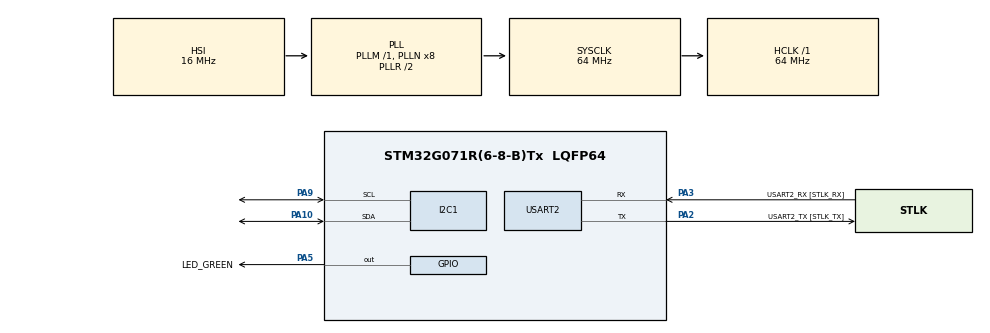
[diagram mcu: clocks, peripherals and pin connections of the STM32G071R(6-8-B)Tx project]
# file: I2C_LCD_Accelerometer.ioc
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I2C1.Timing=0x10B17DB5
Mcu.Family=STM32G0
Mcu.Name=STM32G071R(6-8-B)Tx
Mcu.Package=LQFP64
PA10.Mode=I2C
PA10.Signal=I2C1_SDA
PA13.GPIO_Label=TMS
PA13.Mode=Serial_Wire
PA13.Signal=SYS_SWDIO
PA14-BOOT0.GPIO_Label=TCK
PA14-BOOT0.Mode=Serial_Wire
PA14-BOOT0.Signal=SYS_SWCLK
PA2.GPIO_Label=USART2_TX [STLK_TX]
PA2.GPIO_PuPd=GPIO_PULLUP
PA2.Mode=Asynchronous
PA2.Signal=USART2_TX
PA3.GPIO_Label=USART2_RX [STLK_RX]
PA3.GPIO_PuPd=GPIO_PULLUP
PA3.Mode=Asynchronous
PA3.Signal=USART2_RX
PA5.GPIO_Label=LED_GREEN
PA5.GPIO_Speed=GPIO_SPEED_FREQ_HIGH
PA5.Signal=GPIO_Output
PA9.Mode=I2C
PA9.Signal=I2C1_SCL
PC13.Mode=SYS_WakeUp1
PC13.Signal=SYS_WKUP2
PC14-OSC32_IN\ (PC14).Mode=LSE-External-Clock-Source
PC14-OSC32_IN\ (PC14).Signal=RCC_OSC32_IN
PC15-OSC32_OUT\ (PC15).Signal=RCC_OSC32_OUT
PF0-OSC_IN\ (PF0).GPIO_Label=MCO
PF0-OSC_IN\ (PF0).Mode=HSE-External-Clock-Source
PF0-OSC_IN\ (PF0).Signal=RCC_OSC_IN
ProjectManager.HeapSize=0x200
ProjectManager.StackSize=0x400
ProjectManager.TargetToolchain=STM32CubeIDE
RCC.ADCFreq_Value=64000000
RCC.AHBFreq_Value=64000000
RCC.CortexFreq_Value=64000000
RCC.EXTERNAL_CLOCK_VALUE=12288000
RCC.HCLKFreq_Value=64000000
RCC.HSE_VALUE=8000000
RCC.HSI_VALUE=16000000
RCC.SYSCLKFreq_VALUE=64000000
RCC.SYSCLKSource=RCC_SYSCLKSOURCE_PLLCLK
RCC.VCOOutputFreq_Value=128000000
USART2.VirtualMode-Asynchronous=VM_ASYNC
board=NUCLEO-G071RB

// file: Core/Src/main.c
/* USER CODE BEGIN Header */
/**
  ******************************************************************************
  * @file           : main.c
  * @brief          : Main program body
  ******************************************************************************
  * @attention
  *
  * Copyright (c) 2026 STMicroelectronics.
  * All rights reserved.
  *
  * This software is licensed under terms that can be found in the LICENSE file
  * in the root directory of this software component.
  * If no LICENSE file comes with this software, it is provided AS-IS.
  *
  ******************************************************************************
  */
/* USER CODE END Header */
#include "main.h"

/* USER CODE BEGIN Includes */
#include "I2C_LCD.h"
#include "stdio.h"
#include "DFRobot_LIS2DH12.h"
/* USER CODE END Includes */

/* USER CODE BEGIN PD */
#define lcd_1 I2C_LCD_1
DFRobot_LIS2DH12_t accel;

int16_t x=0;
int16_t y=0;
int16_t z=0;

char data[100]={'\0'};

uint32_t last_time=0;
/* USER CODE END PD */

I2C_HandleTypeDef hi2c1;

UART_HandleTypeDef huart2;

void SystemClock_Config(void);
static void MX_GPIO_Init(void);
static void MX_USART2_UART_Init(void);
static void MX_I2C1_Init(void);

int main(void)
{

  /* MCU Configuration--------------------------------------------------------*/

  /* Reset of all peripherals, Initializes the Flash interface and the Systick. */
  HAL_Init();

  /* Configure the system clock */
  SystemClock_Config();

  /* Initialize all configured peripherals */
  MX_GPIO_Init();
  MX_USART2_UART_Init();
  MX_I2C1_Init();
  /* USER CODE BEGIN 2 */

  DFRobot_LIS2DH12_Init(&accel,&hi2c1,LIS2DH12_RANGE_2GA,0x18);

  I2C_LCD_Init(lcd_1);
  I2C_LCD_SetCursor(lcd_1,0,0);
  I2C_LCD_WriteString(lcd_1,"Initializing..");
  HAL_Delay(5000);
  I2C_LCD_Clear(lcd_1);
  I2C_LCD_WriteString(lcd_1,"Initialized!");
  I2C_LCD_Clear(lcd_1);

  /* USER CODE END 2 */

  /* Infinite loop */
  /* USER CODE BEGIN WHILE */
  while (1)
  {
	  if(HAL_GetTick()-last_time>=100){
	  DFRobot_LIS2DH12_ReadXYZ(&accel, &x, &y, &z);
	  DFRobot_LIS2DH12_MgScale(&accel,&x,&y,&z);

	  sprintf(data,"x=%d    y=%d      ",x,y);
	  I2C_LCD_SetCursor(lcd_1,0,0);
	  I2C_LCD_WriteString(lcd_1,data);
	  sprintf(data,"z=%d       ",z);
	  I2C_LCD_SetCursor(lcd_1,0,1);
	  I2C_LCD_WriteString(lcd_1,data);

	  last_time=HAL_GetTick();
	  }
    /* USER CODE END WHILE */

  }
}

void SystemClock_Config(void)
{
  RCC_OscInitTypeDef RCC_OscInitStruct = {0};
  RCC_ClkInitTypeDef RCC_ClkInitStruct = {0};

  /** Configure the main internal regulator output voltage
  */
  HAL_PWREx_ControlVoltageScaling(PWR_REGULATOR_VOLTAGE_SCALE1);

  /** Initializes the RCC Oscillators according to the specified parameters
  * in the RCC_OscInitTypeDef structure.
  */
  RCC_OscInitStruct.OscillatorType = RCC_OSCILLATORTYPE_HSI;
  RCC_OscInitStruct.HSIState = RCC_HSI_ON;
  RCC_OscInitStruct.HSIDiv = RCC_HSI_DIV1;
  RCC_OscInitStruct.HSICalibrationValue = RCC_HSICALIBRATION_DEFAULT;
  RCC_OscInitStruct.PLL.PLLState = RCC_PLL_ON;
  RCC_OscInitStruct.PLL.PLLSource = RCC_PLLSOURCE_HSI;
  RCC_OscInitStruct.PLL.PLLM = RCC_PLLM_DIV1;
  RCC_OscInitStruct.PLL.PLLN = 8;
  RCC_OscInitStruct.PLL.PLLP = RCC_PLLP_DIV2;
  RCC_OscInitStruct.PLL.PLLQ = RCC_PLLQ_DIV2;
  RCC_OscInitStruct.PLL.PLLR = RCC_PLLR_DIV2;
  if (HAL_RCC_OscConfig(&RCC_OscInitStruct) != HAL_OK)
  {
    Error_Handler();
  }

  /** Initializes the CPU, AHB and APB buses clocks
  */
  RCC_ClkInitStruct.ClockType = RCC_CLOCKTYPE_HCLK|RCC_CLOCKTYPE_SYSCLK
                              |RCC_CLOCKTYPE_PCLK1;
  RCC_ClkInitStruct.SYSCLKSource = RCC_SYSCLKSOURCE_PLLCLK;
  RCC_ClkInitStruct.AHBCLKDivider = RCC_SYSCLK_DIV1;
  RCC_ClkInitStruct.APB1CLKDivider = RCC_HCLK_DIV1;

  if (HAL_RCC_ClockConfig(&RCC_ClkInitStruct, FLASH_LATENCY_2) != HAL_OK)
  {
    Error_Handler();
  }
}

static void MX_I2C1_Init(void)
{

  hi2c1.Instance = I2C1;
  hi2c1.Init.Timing = 0x10B17DB5;
  hi2c1.Init.OwnAddress1 = 0;
  hi2c1.Init.AddressingMode = I2C_ADDRESSINGMODE_7BIT;
  hi2c1.Init.DualAddressMode = I2C_DUALADDRESS_DISABLE;
  hi2c1.Init.OwnAddress2 = 0;
  hi2c1.Init.OwnAddress2Masks = I2C_OA2_NOMASK;
  hi2c1.Init.GeneralCallMode = I2C_GENERALCALL_DISABLE;
  hi2c1.Init.NoStretchMode = I2C_NOSTRETCH_DISABLE;
  if (HAL_I2C_Init(&hi2c1) != HAL_OK)
  {
    Error_Handler();
  }

  /** Configure Analogue filter
  */
  if (HAL_I2CEx_ConfigAnalogFilter(&hi2c1, I2C_ANALOGFILTER_ENABLE) != HAL_OK)
  {
    Error_Handler();
  }

  /** Configure Digital filter
  */
  if (HAL_I2CEx_ConfigDigitalFilter(&hi2c1, 0) != HAL_OK)
  {
    Error_Handler();
  }

}

static void MX_USART2_UART_Init(void)
{

  huart2.Instance = USART2;
  huart2.Init.BaudRate = 115200;
  huart2.Init.WordLength = UART_WORDLENGTH_8B;
  huart2.Init.StopBits = UART_STOPBITS_1;
  huart2.Init.Parity = UART_PARITY_NONE;
  huart2.Init.Mode = UART_MODE_TX_RX;
  huart2.Init.HwFlowCtl = UART_HWCONTROL_NONE;
  huart2.Init.OverSampling = UART_OVERSAMPLING_16;
  huart2.Init.OneBitSampling = UART_ONE_BIT_SAMPLE_DISABLE;
  huart2.Init.ClockPrescaler = UART_PRESCALER_DIV1;
  huart2.AdvancedInit.AdvFeatureInit = UART_ADVFEATURE_NO_INIT;
  if (HAL_UART_Init(&huart2) != HAL_OK)
  {
    Error_Handler();
  }
  if (HAL_UARTEx_SetTxFifoThreshold(&huart2, UART_TXFIFO_THRESHOLD_1_8) != HAL_OK)
  {
    Error_Handler();
  }
  if (HAL_UARTEx_SetRxFifoThreshold(&huart2, UART_RXFIFO_THRESHOLD_1_8) != HAL_OK)
  {
    Error_Handler();
  }
  if (HAL_UARTEx_DisableFifoMode(&huart2) != HAL_OK)
  {
    Error_Handler();
  }

}

static void MX_GPIO_Init(void)
{
  GPIO_InitTypeDef GPIO_InitStruct = {0};

  /* GPIO Ports Clock Enable */
  __HAL_RCC_GPIOC_CLK_ENABLE();
  __HAL_RCC_GPIOF_CLK_ENABLE();
  __HAL_RCC_GPIOA_CLK_ENABLE();

  /*Configure GPIO pin Output Level */
  HAL_GPIO_WritePin(LED_GREEN_GPIO_Port, LED_GREEN_Pin, GPIO_PIN_RESET);

  /*Configure GPIO pin : LED_GREEN_Pin */
  GPIO_InitStruct.Pin = LED_GREEN_Pin;
  GPIO_InitStruct.Mode = GPIO_MODE_OUTPUT_PP;
  GPIO_InitStruct.Pull = GPIO_NOPULL;
  GPIO_InitStruct.Speed = GPIO_SPEED_FREQ_HIGH;
  HAL_GPIO_Init(LED_GREEN_GPIO_Port, &GPIO_InitStruct);

}

void Error_Handler(void)
{
  __disable_irq();
  while (1)
  {
  }
}
